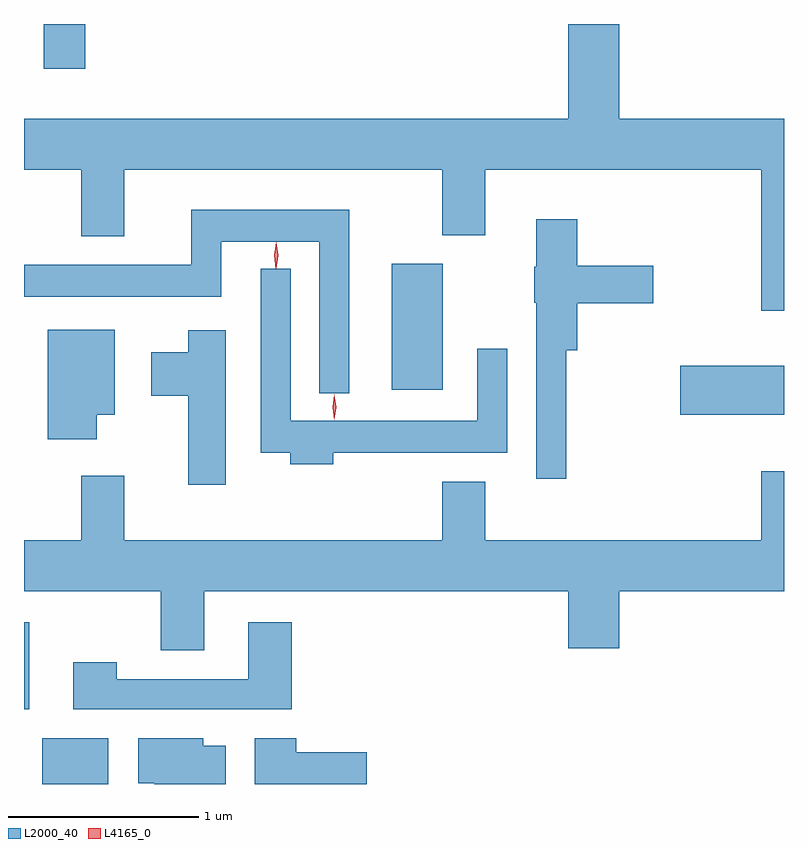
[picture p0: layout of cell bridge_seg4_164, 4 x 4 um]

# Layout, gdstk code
import gdstk
lib = gdstk.Library(unit=1e-6, precision=1e-09)
def R(c, l, rs):  # rectangles x0, y0, x1, y1
    for r in rs: c.add(gdstk.rectangle(r[:2], r[2:], *l))
def P(c, l, *ps):  # polygons
    for p in ps: c.add(gdstk.Polygon(p, *l))
L2000_40 = (2000, 40)
L4165_0 = (4165, 0)

bridge_seg4_164 = lib.new_cell('bridge_seg4_164')
R(bridge_seg4_164, L2000_40, [(951.566,1315.922,951.914,1316.164), (951.471,1316.316,951.499,1316.774), (954.926,1317.866,955.471,1318.124), (953.406,1317.996,953.674,1318.659), (951.576,1319.686,951.794,1319.922)])
P(bridge_seg4_164, L2000_40, [(955.471,1319.424),(954.604,1319.424),(954.604,1319.922),(954.336,1319.922),(954.336,1319.424),(951.471,1319.424),(951.471,1319.156),(951.771,1319.156),(951.771,1318.806),(951.999,1318.806),(951.999,1319.156),(953.671,1319.156),(953.671,1318.811),(953.899,1318.811),(953.899,1319.156),(955.351,1319.156),(955.351,1318.413),(955.471,1318.413)],
  [(953.184,1318.944),(952.351,1318.944),(952.351,1318.654),(951.471,1318.654),(951.471,1318.486),(952.509,1318.486),(952.509,1318.776),(953.026,1318.776),(953.026,1317.978),(953.184,1317.978)],
  [(954.324,1318.206),(954.384,1318.206),(954.384,1318.451),(954.784,1318.451),(954.784,1318.649),(954.384,1318.649),(954.384,1318.894),(954.166,1318.894),(954.166,1318.645),(954.156,1318.645),(954.156,1318.455),(954.166,1318.455),(954.166,1317.528),(954.324,1317.528)],
  [(953.099,1317.666),(954.014,1317.666),(954.014,1318.213),(953.856,1318.213),(953.856,1317.834),(952.874,1317.834),(952.874,1318.633),(952.716,1318.633),(952.716,1317.666),(952.871,1317.666),(952.871,1317.606),(953.099,1317.606)],
  [(951.854,1317.866),(951.949,1317.866),(951.949,1318.314),(951.596,1318.314),(951.596,1317.736),(951.854,1317.736)],
  [(952.534,1318.309),(952.336,1318.309),(952.336,1318.194),(952.141,1318.194),(952.141,1317.966),(952.336,1317.966),(952.336,1317.496),(952.534,1317.496)],
  [(952.419,1316.936),(954.336,1316.936),(954.336,1316.636),(954.604,1316.636),(954.604,1316.936),(955.471,1316.936),(955.471,1317.568),(955.351,1317.568),(955.351,1317.204),(953.899,1317.204),(953.899,1317.514),(953.671,1317.514),(953.671,1317.204),(951.999,1317.204),(951.999,1317.544),(951.771,1317.544),(951.771,1317.204),(951.471,1317.204),(951.471,1316.936),(952.191,1316.936),(952.191,1316.626),(952.419,1316.626)],
  [(952.879,1316.774),(952.651,1316.774),(952.651,1316.474),(951.959,1316.474),(951.959,1316.564),(951.731,1316.564),(951.731,1316.316),(952.879,1316.316)],
  [(953.274,1316.089),(952.904,1316.089),(952.904,1316.164),(952.686,1316.164),(952.686,1315.922),(953.274,1315.922)],
  [(952.534,1316.124),(952.414,1316.124),(952.414,1316.164),(952.071,1316.164),(952.071,1315.926),(952.156,1315.926),(952.156,1315.922),(952.534,1315.922)])
P(bridge_seg4_164, L4165_0, [(952.798,1318.634),(952.797,1318.635),(952.788,1318.704),(952.798,1318.773),(952.798,1318.774),(952.799,1318.773),(952.808,1318.704),(952.798,1318.635)],
  [(953.104,1317.839),(953.104,1317.84),(953.095,1317.906),(953.104,1317.972),(953.105,1317.973),(953.105,1317.972),(953.114,1317.906),(953.105,1317.84)])

lib.write_gds('bridge_seg4_164.gds')
